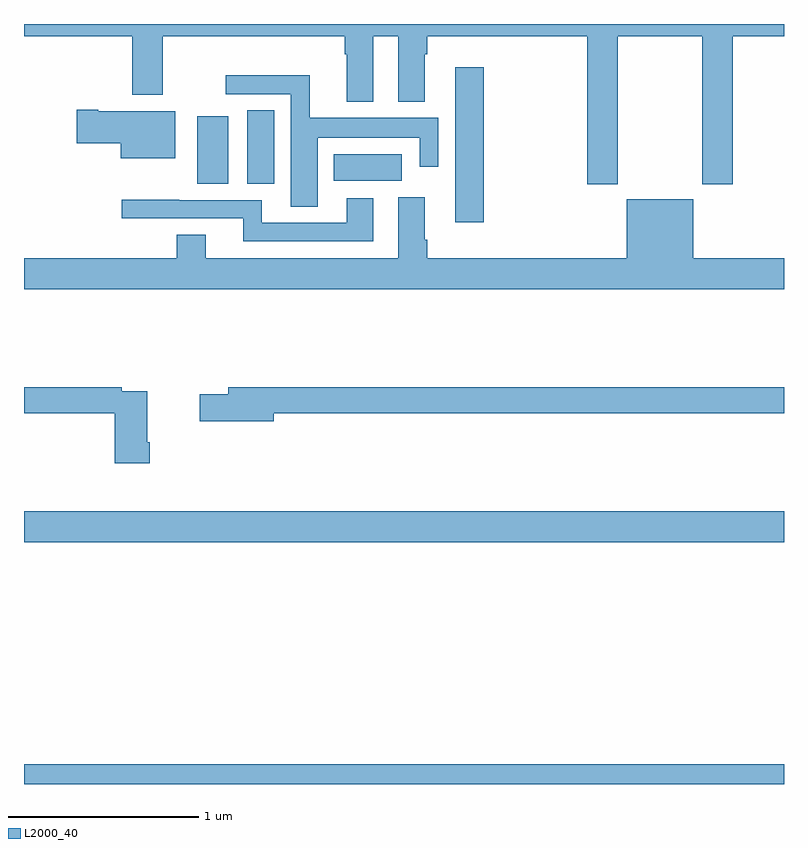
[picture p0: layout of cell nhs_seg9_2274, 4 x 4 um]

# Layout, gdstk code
import gdstk
lib = gdstk.Library(unit=1e-6, precision=1e-09)
def R(c, l, rs):  # rectangles x0, y0, x1, y1
    for r in rs: c.add(gdstk.rectangle(r[:2], r[2:], *l))
def P(c, l, *ps):  # polygons
    for p in ps: c.add(gdstk.Polygon(p, *l))
L2000_40 = (2000, 40)

nhs_seg9_2274 = lib.new_cell('nhs_seg9_2274')
R(nhs_seg9_2274, L2000_40, [(241,1176.5,245,1176.604), (241,1177.772,245,1177.936), (243.269,1179.456,243.419,1180.273), (241.913,1179.658,242.074,1180.015), (242.174,1179.658,242.317,1180.046), (242.63,1179.674,242.989,1179.814)])
P(nhs_seg9_2274, L2000_40, [(244.125,1180.436),(244.57,1180.436),(244.57,1179.657),(244.73,1179.657),(244.73,1180.436),(245,1180.436),(245,1180.5),(241,1180.5),(241,1180.436),(241.571,1180.436),(241.571,1180.127),(241.731,1180.127),(241.731,1180.436),(242.687,1180.436),(242.687,1180.34),(242.699,1180.34),(242.699,1180.091),(242.839,1180.091),(242.839,1180.436),(242.969,1180.436),(242.969,1180.091),(243.109,1180.091),(243.109,1180.34),(243.122,1180.34),(243.122,1180.436),(243.965,1180.436),(243.965,1179.657),(244.125,1179.657)],
  [(242.545,1179.902),(243.084,1179.902),(243.084,1179.75),(243.18,1179.75),(243.18,1180.006),(242.504,1180.006),(242.504,1180.229),(242.061,1180.229),(242.061,1180.131),(242.405,1180.131),(242.405,1179.538),(242.545,1179.538)],
  [(241.795,1180.042),(241.39,1180.042),(241.39,1180.05),(241.278,1180.05),(241.278,1179.872),(241.508,1179.872),(241.508,1179.794),(241.795,1179.794)],
  [(245,1179.268),(244.522,1179.268),(244.522,1179.577),(244.172,1179.577),(244.172,1179.268),(243.122,1179.268),(243.122,1179.364),(243.109,1179.364),(243.109,1179.589),(242.969,1179.589),(242.969,1179.268),(241.957,1179.268),(241.957,1179.392),(241.805,1179.392),(241.805,1179.268),(241,1179.268),(241,1179.104),(245,1179.104)],
  [(242.839,1179.583),(242.699,1179.583),(242.699,1179.453),(242.251,1179.453),(242.251,1179.573),(241.817,1179.573),(241.817,1179.576),(241.515,1179.576),(241.515,1179.477),(242.153,1179.477),(242.153,1179.357),(242.839,1179.357)],
  [(242.314,1178.452),(245,1178.452),(245,1178.588),(242.075,1178.588),(242.075,1178.552),(241.926,1178.552),(241.926,1178.41),(242.314,1178.41)],
  [(241.661,1178.299),(241.648,1178.299),(241.648,1178.568),(241.514,1178.568),(241.514,1178.588),(241,1178.588),(241,1178.452),(241.478,1178.452),(241.478,1178.187),(241.661,1178.187)])

lib.write_gds('nhs_seg9_2274.gds')
